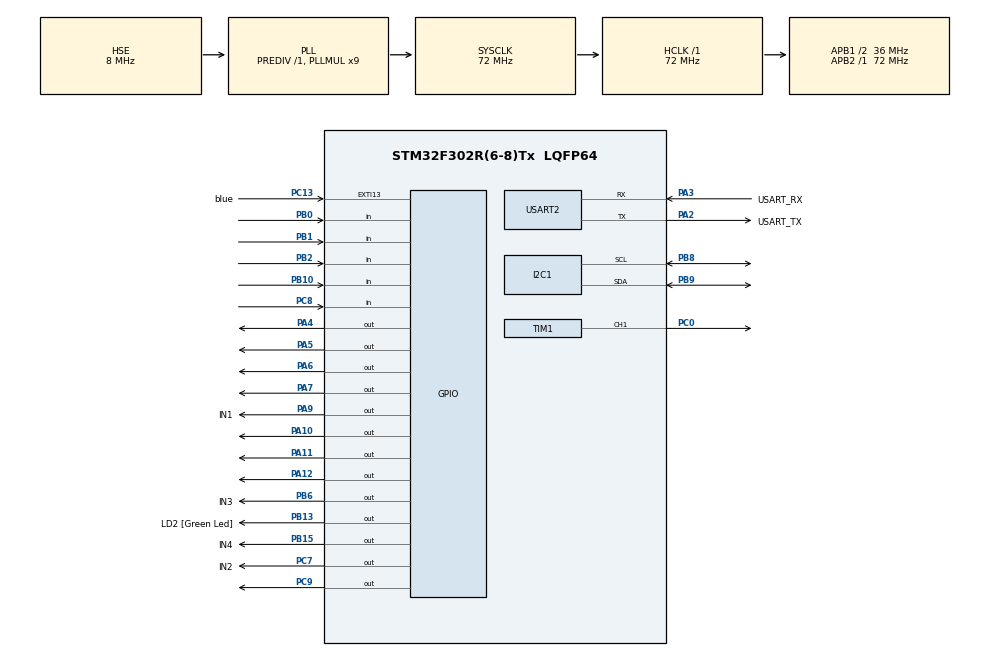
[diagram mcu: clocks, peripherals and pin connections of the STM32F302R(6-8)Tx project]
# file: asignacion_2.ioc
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Mcu.Family=STM32F3
Mcu.Name=STM32F302R(6-8)Tx
Mcu.Package=LQFP64
NVIC.PriorityGroup=NVIC_PRIORITYGROUP_0
PA10.Signal=GPIO_Output
PA11.Signal=GPIO_Output
PA12.Signal=GPIO_Output
PA13.GPIO_Label=TMS
PA13.Mode=Serial_Wire
PA13.Signal=SYS_JTMS-SWDIO
PA14.GPIO_Label=TCK
PA14.Mode=Serial_Wire
PA14.Signal=SYS_JTCK-SWCLK
PA2.GPIO_Label=USART_TX
PA2.GPIO_Mode=GPIO_MODE_AF_PP
PA2.GPIO_PuPd=GPIO_NOPULL
PA2.GPIO_Speed=GPIO_SPEED_FREQ_LOW
PA2.Mode=Asynchronous
PA2.Signal=USART2_TX
PA3.GPIO_Label=USART_RX
PA3.GPIO_Mode=GPIO_MODE_AF_PP
PA3.GPIO_PuPd=GPIO_NOPULL
PA3.GPIO_Speed=GPIO_SPEED_FREQ_LOW
PA3.Mode=Asynchronous
PA3.Signal=USART2_RX
PA4.Signal=GPIO_Output
PA5.Signal=GPIO_Output
PA6.Signal=GPIO_Output
PA7.Signal=GPIO_Output
PA9.GPIO_Label=IN1
PA9.Signal=GPIO_Output
PB0.GPIO_PuPd=GPIO_PULLUP
PB0.Signal=GPIO_Input
PB1.GPIO_PuPd=GPIO_PULLUP
PB1.Signal=GPIO_Input
PB10.GPIO_PuPd=GPIO_PULLUP
PB10.Signal=GPIO_Input
PB13.GPIO_Label=LD2 [Green Led]
PB13.Signal=GPIO_Output
PB15.GPIO_Label=IN4
PB15.Signal=GPIO_Output
PB2.GPIO_PuPd=GPIO_PULLUP
PB2.Signal=GPIO_Input
PB3.GPIO_Label=SWO
PB3.Mode=Trace_Asynchronous_SW
PB3.Signal=SYS_JTDO-TRACESWO
PB6.GPIO_Label=IN3
PB6.Signal=GPIO_Output
PB8.Mode=I2C
PB8.Signal=I2C1_SCL
PB9.Mode=I2C
PB9.Signal=I2C1_SDA
PC0.GPIO_PuPd=GPIO_PULLUP
PC0.Signal=S_TIM1_CH1
PC13.GPIO_Label=blue
PC13.GPIO_ModeDefaultEXTI=GPIO_MODE_IT_FALLING
PC13.Signal=GPXTI13
PC14\ -\ OSC32_IN.Signal=RCC_OSC32_IN
PC15\ -\ OSC32_OUT.Signal=RCC_OSC32_OUT
PC7.GPIO_Label=IN2
PC7.Signal=GPIO_Output
PC8.Signal=GPIO_Input
PC9.Signal=GPIO_Output
PF0-OSC_IN.Mode=HSE-External-Oscillator
PF0-OSC_IN.Signal=RCC_OSC_IN
PF1-OSC_OUT.Mode=HSE-External-Oscillator
PF1-OSC_OUT.Signal=RCC_OSC_OUT
ProjectManager.HeapSize=0x200
ProjectManager.StackSize=0x400
ProjectManager.TargetToolchain=STM32CubeIDE
RCC.AHBFreq_Value=72000000
RCC.APB1CLKDivider=RCC_HCLK_DIV2
RCC.APB1Freq_Value=36000000
RCC.APB1TimFreq_Value=72000000
RCC.APB2Freq_Value=72000000
RCC.APB2TimFreq_Value=72000000
RCC.CortexFreq_Value=72000000
RCC.HCLKFreq_Value=72000000
RCC.HSE_VALUE=8000000
RCC.HSI_VALUE=8000000
RCC.LSE_VALUE=32768
RCC.PLLM=8
RCC.PLLMUL=RCC_PLL_MUL9
RCC.PLLN=336
RCC.PLLP=RCC_PLLP_DIV4
RCC.PLLQ=7
RCC.PLLSourceVirtual=RCC_PLLSOURCE_HSE
RCC.SYSCLKFreq_VALUE=72000000
RCC.SYSCLKSourceVirtual=RCC_SYSCLKSOURCE_PLLCLK
RCC.USBFreq_Value=72000000
SH.S_TIM1_CH1.0=TIM1_CH1,PWM Generation1 CH1
TIM1.Channel-PWM\ Generation1\ CH1=TIM_CHANNEL_1
TIM1.Period=20000
TIM1.Prescaler=72-1
TIM1.Pulse-PWM\ Generation1\ CH1=500
TIM15.Prescaler=71
TIM2.Period=0xffff-1
TIM2.Prescaler=72-1
USART2.VirtualMode-Asynchronous=VM_ASYNC
VP_TIM15_VS_ClockSourceINT.Mode=Internal
VP_TIM1_VS_ClockSourceINT.Mode=Internal
VP_TIM2_VS_ClockSourceINT.Mode=Internal
board=NUCLEO-F302R8

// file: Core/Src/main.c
/**************************************************************/

/**

               Instituto Tecnológico de Las Américas (ITLA)

                    Nombre: Julio de la Rosa Pérez

                         Matrícula: 2018-6732

                     Materia: Microcontroladores

                       Profesor: Wilkin Cedano

********************************************************************/
/* USER CODE END Header */
#include "main.h"

/* USER CODE BEGIN Includes */
#include "i2c-lcd.h"
#include "max_matrix_stm32.h"
#include "Servo.h"
#include "StepMotor.h"
#include "ultrasonico.h"
/* USER CODE END Includes */

/* USER CODE BEGIN PD */
#define SERVO_TIMER &htim1
#define SERVO_CHANNEL TIM_CHANNEL_1

#define R1_PORT GPIOA
#define R1_PIN GPIO_PIN_4

#define R2_PORT GPIOA
#define R2_PIN GPIO_PIN_5

#define R3_PORT GPIOA
#define R3_PIN GPIO_PIN_6

#define R4_PORT GPIOA
#define R4_PIN GPIO_PIN_7

#define C1_PORT GPIOB
#define C1_PIN GPIO_PIN_0

#define C2_PORT GPIOB
#define C2_PIN GPIO_PIN_1

#define C3_PORT GPIOB
#define C3_PIN GPIO_PIN_2

#define C4_PORT GPIOB
#define C4_PIN GPIO_PIN_10
/* USER CODE END PD */

I2C_HandleTypeDef hi2c1;

TIM_HandleTypeDef htim1;
TIM_HandleTypeDef htim2;
TIM_HandleTypeDef htim15;

UART_HandleTypeDef huart2;

void SystemClock_Config(void);
static void MX_GPIO_Init(void);
static void MX_USART2_UART_Init(void);
static void MX_I2C1_Init(void);
static void MX_TIM1_Init(void);
static void MX_TIM2_Init(void);
static void MX_TIM15_Init(void);

/* USER CODE BEGIN 0 */
void delay(uint16_t us){

	__HAL_TIM_SET_COUNTER(&htim2,0);

	while(__HAL_TIM_GET_COUNTER(&htim2)<us);

}
#define stepsperrev 4096

uint8_t key;

char read_keypad (void)
{
	/* Make ROW 1 LOW and all other ROWs HIGH */
	HAL_GPIO_WritePin (R1_PORT, R1_PIN, GPIO_PIN_RESET);  //Pull the R1 low
	HAL_GPIO_WritePin (R2_PORT, R2_PIN, GPIO_PIN_SET);  // Pull the R2 High
	HAL_GPIO_WritePin (R3_PORT, R3_PIN, GPIO_PIN_SET);  // Pull the R3 High
	HAL_GPIO_WritePin (R4_PORT, R4_PIN, GPIO_PIN_SET);  // Pull the R4 High

	if (!(HAL_GPIO_ReadPin (C1_PORT, C1_PIN)))   // if the Col 1 is low
	{
		while (!(HAL_GPIO_ReadPin (C1_PORT, C1_PIN)));   // wait till the button is pressed
		return '1';
	}

	if (!(HAL_GPIO_ReadPin (C2_PORT, C2_PIN)))   // if the Col 2 is low
	{
		while (!(HAL_GPIO_ReadPin (C2_PORT, C2_PIN)));   // wait till the button is pressed
		return '2';
	}

	if (!(HAL_GPIO_ReadPin (C3_PORT, C3_PIN)))   // if the Col 3 is low
	{
		while (!(HAL_GPIO_ReadPin (C3_PORT, C3_PIN)));   // wait till the button is pressed
		return '3';
	}

	if (!(HAL_GPIO_ReadPin (C4_PORT, C4_PIN)))   // if the Col 4 is low
	{
		while (!(HAL_GPIO_ReadPin (C4_PORT, C4_PIN)));   // wait till the button is pressed
		return 'A';
	}

	/* Make ROW 2 LOW and all other ROWs HIGH */
	HAL_GPIO_WritePin (R1_PORT, R1_PIN, GPIO_PIN_SET);  //Pull the R1 low
	HAL_GPIO_WritePin (R2_PORT, R2_PIN, GPIO_PIN_RESET);  // Pull the R2 High
	HAL_GPIO_WritePin (R3_PORT, R3_PIN, GPIO_PIN_SET);  // Pull the R3 High
	HAL_GPIO_WritePin (R4_PORT, R4_PIN, GPIO_PIN_SET);  // Pull the R4 High

	if (!(HAL_GPIO_ReadPin (C1_PORT, C1_PIN)))   // if the Col 1 is low
	{
		while (!(HAL_GPIO_ReadPin (C1_PORT, C1_PIN)));   // wait till the button is pressed
		return '4';
	}

	if (!(HAL_GPIO_ReadPin (C2_PORT, C2_PIN)))   // if the Col 2 is low
	{
		while (!(HAL_GPIO_ReadPin (C2_PORT, C2_PIN)));   // wait till the button is pressed
		return '5';
	}

	if (!(HAL_GPIO_ReadPin (C3_PORT, C3_PIN)))   // if the Col 3 is low
	{
		while (!(HAL_GPIO_ReadPin (C3_PORT, C3_PIN)));   // wait till the button is pressed
		return '6';
	}

	if (!(HAL_GPIO_ReadPin (C4_PORT, C4_PIN)))   // if the Col 4 is low
	{
		while (!(HAL_GPIO_ReadPin (C4_PORT, C4_PIN)));   // wait till the button is pressed
		return 'B';
	}

	/* Make ROW 3 LOW and all other ROWs HIGH */
	HAL_GPIO_WritePin (R1_PORT, R1_PIN, GPIO_PIN_SET);
	HAL_GPIO_WritePin (R2_PORT, R2_PIN, GPIO_PIN_SET);
	HAL_GPIO_WritePin (R3_PORT, R3_PIN, GPIO_PIN_RESET);
	HAL_GPIO_WritePin (R4_PORT, R4_PIN, GPIO_PIN_SET);

	if (!(HAL_GPIO_ReadPin (C1_PORT, C1_PIN)))
	{
		while (!(HAL_GPIO_ReadPin (C1_PORT, C1_PIN)));
		return '7';
	}

	if (!(HAL_GPIO_ReadPin (C2_PORT, C2_PIN)))
	{
		while (!(HAL_GPIO_ReadPin (C2_PORT, C2_PIN)));
		return '8';
	}

	if (!(HAL_GPIO_ReadPin (C3_PORT, C3_PIN)))
	{
		while (!(HAL_GPIO_ReadPin (C3_PORT, C3_PIN)));
		return '9';
	}

	if (!(HAL_GPIO_ReadPin (C4_PORT, C4_PIN)))
	{
		while (!(HAL_GPIO_ReadPin (C4_PORT, C4_PIN)));
		return 'C';
	}

	/* Make ROW 4 LOW and all other ROWs HIGH */
	HAL_GPIO_WritePin (R1_PORT, R1_PIN, GPIO_PIN_SET);
	HAL_GPIO_WritePin (R2_PORT, R2_PIN, GPIO_PIN_SET);
	HAL_GPIO_WritePin (R3_PORT, R3_PIN, GPIO_PIN_SET);
	HAL_GPIO_WritePin (R4_PORT, R4_PIN, GPIO_PIN_RESET);

	if (!(HAL_GPIO_ReadPin (C1_PORT, C1_PIN)))
	{
		while (!(HAL_GPIO_ReadPin (C1_PORT, C1_PIN)));
		return '*';
	}

	if (!(HAL_GPIO_ReadPin (C2_PORT, C2_PIN)))
	{
		while (!(HAL_GPIO_ReadPin (C2_PORT, C2_PIN)));
		return '0';
	}

	if (!(HAL_GPIO_ReadPin (C3_PORT, C3_PIN)))
	{
		while (!(HAL_GPIO_ReadPin (C3_PORT, C3_PIN)));
		return '#';
	}

	if (!(HAL_GPIO_ReadPin (C4_PORT, C4_PIN)))
	{
		while (!(HAL_GPIO_ReadPin (C4_PORT, C4_PIN)));
		return 'D';
	}
	return '\0';//PROBAR NUEVA IMPLEMENTACION
}

/* USER CODE END 0 */

int main(void)
{

  /* MCU Configuration--------------------------------------------------------*/

  /* Reset of all peripherals, Initializes the Flash interface and the Systick. */
  HAL_Init();

  /* USER CODE BEGIN Init */

  Servo servo;

  /* USER CODE END Init */

  /* Configure the system clock */
  SystemClock_Config();

  /* Initialize all configured peripherals */
  MX_GPIO_Init();
  MX_USART2_UART_Init();
  MX_I2C1_Init();
  MX_TIM1_Init();
  MX_TIM2_Init();
  MX_TIM15_Init();
  /* USER CODE BEGIN 2 */
lcd_init();
ultrasonic_init();
lcd_send_cmd(0x01);
lcd_send_cmd(0x80);
lcd_send_string("  A)ULTRASONICO");
lcd_send_cmd(0xC0);
lcd_send_string("B)TECLADO");
max_init(0x03);
Servo_Init(&servo, &htim1, TIM_CHANNEL_1);
Servo_MoveToAngle(&servo, 0, 500);//temporal
HAL_TIM_Base_Start(&htim2);
  /* USER CODE END 2 */

/* Infinite loop */
while (1)
{
	      char operation = 0;
	      int num1 = 0, digit1 = 0;
	      uint16_t Distancia = ultrasonic_measure_distance();
	      key = read_keypad();
	      operation = key;

	      switch (operation) {
	          case 'A':
	              lcd_clear();
	              while (1) {
	                  uint16_t Distancia = ultrasonic_measure_distance();

	                  HAL_Delay(10);
	                  lcd_send_cmd(0x80);
	                  lcd_send_string("Distancia");
	                  lcd_put_cur(0, 10);
	                  lcd_send_data((Distancia / 100) + 48);
	                  lcd_send_data(((Distancia / 10) % 10) + 48);
	                  lcd_send_data((Distancia % 10) + 48);
	                  lcd_send_string(" cm");
	                  lcd_send_cmd(0xC0);
	                  lcd_send_string("Ultrasonico");
	                  HAL_Delay(50);
	                  if (Distancia <= 15){
	                	  write_char(17, 1);
	                      Servo_MoveToAngle(&servo,Distancia, 1000);
		                  	stepper_step_angle(Distancia, 0, 13);
	                  }
	                  else if (Distancia > 15){
	                	  write_char(16, 1);
	                      Servo_MoveToAngle(&servo, Distancia, 1000);
		                  	stepper_step_angle(Distancia, 1, 13);
	                  }
	                  key = read_keypad();
	                  if (key == 'C') {
	                	lcd_clear();
	                  	lcd_put_cur(1, 0);
	                  	stepper_step_angle(0, 0, 1);
	                  	Servo_SetAngle(&servo,0);
	                  	lcd_send_string("Presione  C!");
	                  	scroll_string("x2",150, left);
	                  	max_clear();
	                      break;  // Volver al menú principal si se presiona 'C'
	                  }
	              }
	          	while(read_keypad()== 'C'){}
	              break;

	          case 'B':
	              lcd_clear();
	              lcd_send_cmd(0x80);
	              lcd_send_string("Entre digitos:");
	              lcd_send_cmd(0xC0);

	              while (1) {
	                  key = read_keypad();

	                  if (key != 0x01) {
	                      if (key >= '0' && key <= '9' && digit1 < 3) {
	                          int movei = key - '0';
	                          num1 = (num1 * 10) + movei;
	                          lcd_send_data(key);
	                          digit1++;
	                      } else if (key == '#') {
	                          // Salir del bucle cuando se ingresa el símbolo '#'
	                          break;
	                      } else if (key == 'D') {
	                          // Borrar el último dígito ingresado si se presiona 'D'
	                          if (digit1 > 0) {
	                              num1 = num1 / 10;
	                              digit1--;
	                              lcd_send_cmd(0x10); // Mover el cursor hacia atrás
	                              lcd_send_data(' '); // Borrar el último dígito mostrado
	                              lcd_send_cmd(0x10); // Mover el cursor hacia atrás nuevamente
	                          }
	                      }
	                  }
	              }
	              if (num1 >= 90){
	              write_char(17, 1);
	              Servo_MoveToAngle(&servo, num1, 1000);
	              stepper_step_angle(num1, 0, 13);}
	              else if (num1 < 90 ){
                write_char(16, 1);
	              Servo_MoveToAngle(&servo, num1, 1000);
	              stepper_step_angle(num1, 1, 13);}

	              break;

	          case 'C':
	        	  max_clear();
                  stepper_step_angle(0, 0, 1);
                  Servo_SetAngle(&servo,0);
	              lcd_send_cmd(0x01);
	              lcd_send_cmd(0x80);
	              lcd_send_string("  A)ULTRASONICO");
	              lcd_send_cmd(0xC0);
	              lcd_send_string("B)TECLADO");

	              break;
	      }

}
}
void SystemClock_Config(void)
{
  RCC_OscInitTypeDef RCC_OscInitStruct = {0};
  RCC_ClkInitTypeDef RCC_ClkInitStruct = {0};
  RCC_PeriphCLKInitTypeDef PeriphClkInit = {0};

  /** Initializes the RCC Oscillators according to the specified parameters
  * in the RCC_OscInitTypeDef structure.
  */
  RCC_OscInitStruct.OscillatorType = RCC_OSCILLATORTYPE_HSI|RCC_OSCILLATORTYPE_HSE;
  RCC_OscInitStruct.HSEState = RCC_HSE_ON;
  RCC_OscInitStruct.HSEPredivValue = RCC_HSE_PREDIV_DIV1;
  RCC_OscInitStruct.HSIState = RCC_HSI_ON;
  RCC_OscInitStruct.HSICalibrationValue = RCC_HSICALIBRATION_DEFAULT;
  RCC_OscInitStruct.PLL.PLLState = RCC_PLL_ON;
  RCC_OscInitStruct.PLL.PLLSource = RCC_PLLSOURCE_HSE;
  RCC_OscInitStruct.PLL.PLLMUL = RCC_PLL_MUL9;
  if (HAL_RCC_OscConfig(&RCC_OscInitStruct) != HAL_OK)
  {
    Error_Handler();
  }

  /** Initializes the CPU, AHB and APB buses clocks
  */
  RCC_ClkInitStruct.ClockType = RCC_CLOCKTYPE_HCLK|RCC_CLOCKTYPE_SYSCLK
                              |RCC_CLOCKTYPE_PCLK1|RCC_CLOCKTYPE_PCLK2;
  RCC_ClkInitStruct.SYSCLKSource = RCC_SYSCLKSOURCE_PLLCLK;
  RCC_ClkInitStruct.AHBCLKDivider = RCC_SYSCLK_DIV1;
  RCC_ClkInitStruct.APB1CLKDivider = RCC_HCLK_DIV2;
  RCC_ClkInitStruct.APB2CLKDivider = RCC_HCLK_DIV1;

  if (HAL_RCC_ClockConfig(&RCC_ClkInitStruct, FLASH_LATENCY_2) != HAL_OK)
  {
    Error_Handler();
  }
  PeriphClkInit.PeriphClockSelection = RCC_PERIPHCLK_I2C1|RCC_PERIPHCLK_TIM1
                              |RCC_PERIPHCLK_TIM15;
  PeriphClkInit.I2c1ClockSelection = RCC_I2C1CLKSOURCE_HSI;
  PeriphClkInit.Tim1ClockSelection = RCC_TIM1CLK_HCLK;
  PeriphClkInit.Tim15ClockSelection = RCC_TIM15CLK_HCLK;
  if (HAL_RCCEx_PeriphCLKConfig(&PeriphClkInit) != HAL_OK)
  {
    Error_Handler();
  }
}

static void MX_I2C1_Init(void)
{

  hi2c1.Instance = I2C1;
  hi2c1.Init.Timing = 0x2000090E;
  hi2c1.Init.OwnAddress1 = 0;
  hi2c1.Init.AddressingMode = I2C_ADDRESSINGMODE_7BIT;
  hi2c1.Init.DualAddressMode = I2C_DUALADDRESS_DISABLE;
  hi2c1.Init.OwnAddress2 = 0;
  hi2c1.Init.OwnAddress2Masks = I2C_OA2_NOMASK;
  hi2c1.Init.GeneralCallMode = I2C_GENERALCALL_DISABLE;
  hi2c1.Init.NoStretchMode = I2C_NOSTRETCH_DISABLE;
  if (HAL_I2C_Init(&hi2c1) != HAL_OK)
  {
    Error_Handler();
  }

  /** Configure Analogue filter
  */
  if (HAL_I2CEx_ConfigAnalogFilter(&hi2c1, I2C_ANALOGFILTER_ENABLE) != HAL_OK)
  {
    Error_Handler();
  }

  /** Configure Digital filter
  */
  if (HAL_I2CEx_ConfigDigitalFilter(&hi2c1, 0) != HAL_OK)
  {
    Error_Handler();
  }

}

static void MX_TIM1_Init(void)
{

  TIM_ClockConfigTypeDef sClockSourceConfig = {0};
  TIM_MasterConfigTypeDef sMasterConfig = {0};
  TIM_OC_InitTypeDef sConfigOC = {0};
  TIM_BreakDeadTimeConfigTypeDef sBreakDeadTimeConfig = {0};

  htim1.Instance = TIM1;
  htim1.Init.Prescaler = 72-1;
  htim1.Init.CounterMode = TIM_COUNTERMODE_UP;
  htim1.Init.Period = 20000;
  htim1.Init.ClockDivision = TIM_CLOCKDIVISION_DIV1;
  htim1.Init.RepetitionCounter = 0;
  htim1.Init.AutoReloadPreload = TIM_AUTORELOAD_PRELOAD_DISABLE;
  if (HAL_TIM_Base_Init(&htim1) != HAL_OK)
  {
    Error_Handler();
  }
  sClockSourceConfig.ClockSource = TIM_CLOCKSOURCE_INTERNAL;
  if (HAL_TIM_ConfigClockSource(&htim1, &sClockSourceConfig) != HAL_OK)
  {
    Error_Handler();
  }
  if (HAL_TIM_PWM_Init(&htim1) != HAL_OK)
  {
    Error_Handler();
  }
  sMasterConfig.MasterOutputTrigger = TIM_TRGO_RESET;
  sMasterConfig.MasterOutputTrigger2 = TIM_TRGO2_RESET;
  sMasterConfig.MasterSlaveMode = TIM_MASTERSLAVEMODE_DISABLE;
  if (HAL_TIMEx_MasterConfigSynchronization(&htim1, &sMasterConfig) != HAL_OK)
  {
    Error_Handler();
  }
  sConfigOC.OCMode = TIM_OCMODE_PWM1;
  sConfigOC.Pulse = 500;
  sConfigOC.OCPolarity = TIM_OCPOLARITY_HIGH;
  sConfigOC.OCNPolarity = TIM_OCNPOLARITY_HIGH;
  sConfigOC.OCFastMode = TIM_OCFAST_DISABLE;
  sConfigOC.OCIdleState = TIM_OCIDLESTATE_RESET;
  sConfigOC.OCNIdleState = TIM_OCNIDLESTATE_RESET;
  if (HAL_TIM_PWM_ConfigChannel(&htim1, &sConfigOC, TIM_CHANNEL_1) != HAL_OK)
  {
    Error_Handler();
  }
  sBreakDeadTimeConfig.OffStateRunMode = TIM_OSSR_DISABLE;
  sBreakDeadTimeConfig.OffStateIDLEMode = TIM_OSSI_DISABLE;
  sBreakDeadTimeConfig.LockLevel = TIM_LOCKLEVEL_OFF;
  sBreakDeadTimeConfig.DeadTime = 0;
  sBreakDeadTimeConfig.BreakState = TIM_BREAK_DISABLE;
  sBreakDeadTimeConfig.BreakPolarity = TIM_BREAKPOLARITY_HIGH;
  sBreakDeadTimeConfig.BreakFilter = 0;
  sBreakDeadTimeConfig.Break2State = TIM_BREAK2_DISABLE;
  sBreakDeadTimeConfig.Break2Polarity = TIM_BREAK2POLARITY_HIGH;
  sBreakDeadTimeConfig.Break2Filter = 0;
  sBreakDeadTimeConfig.AutomaticOutput = TIM_AUTOMATICOUTPUT_DISABLE;
  if (HAL_TIMEx_ConfigBreakDeadTime(&htim1, &sBreakDeadTimeConfig) != HAL_OK)
  {
    Error_Handler();
  }
  HAL_TIM_MspPostInit(&htim1);

}

static void MX_TIM2_Init(void)
{

  TIM_ClockConfigTypeDef sClockSourceConfig = {0};
  TIM_MasterConfigTypeDef sMasterConfig = {0};

  htim2.Instance = TIM2;
  htim2.Init.Prescaler = 72-1;
  htim2.Init.CounterMode = TIM_COUNTERMODE_UP;
  htim2.Init.Period = 0xffff-1;
  htim2.Init.ClockDivision = TIM_CLOCKDIVISION_DIV1;
  htim2.Init.AutoReloadPreload = TIM_AUTORELOAD_PRELOAD_DISABLE;
  if (HAL_TIM_Base_Init(&htim2) != HAL_OK)
  {
    Error_Handler();
  }
  sClockSourceConfig.ClockSource = TIM_CLOCKSOURCE_INTERNAL;
  if (HAL_TIM_ConfigClockSource(&htim2, &sClockSourceConfig) != HAL_OK)
  {
    Error_Handler();
  }
  sMasterConfig.MasterOutputTrigger = TIM_TRGO_RESET;
  sMasterConfig.MasterSlaveMode = TIM_MASTERSLAVEMODE_DISABLE;
  if (HAL_TIMEx_MasterConfigSynchronization(&htim2, &sMasterConfig) != HAL_OK)
  {
    Error_Handler();
  }

}

static void MX_TIM15_Init(void)
{

  TIM_ClockConfigTypeDef sClockSourceConfig = {0};
  TIM_MasterConfigTypeDef sMasterConfig = {0};

  htim15.Instance = TIM15;
  htim15.Init.Prescaler = 71;
  htim15.Init.CounterMode = TIM_COUNTERMODE_UP;
  htim15.Init.Period = 65535;
  htim15.Init.ClockDivision = TIM_CLOCKDIVISION_DIV1;
  htim15.Init.RepetitionCounter = 0;
  htim15.Init.AutoReloadPreload = TIM_AUTORELOAD_PRELOAD_DISABLE;
  if (HAL_TIM_Base_Init(&htim15) != HAL_OK)
  {
    Error_Handler();
  }
  sClockSourceConfig.ClockSource = TIM_CLOCKSOURCE_INTERNAL;
  if (HAL_TIM_ConfigClockSource(&htim15, &sClockSourceConfig) != HAL_OK)
  {
    Error_Handler();
  }
  sMasterConfig.MasterOutputTrigger = TIM_TRGO_RESET;
  sMasterConfig.MasterSlaveMode = TIM_MASTERSLAVEMODE_DISABLE;
  if (HAL_TIMEx_MasterConfigSynchronization(&htim15, &sMasterConfig) != HAL_OK)
  {
    Error_Handler();
  }

}

static void MX_USART2_UART_Init(void)
{

  huart2.Instance = USART2;
  huart2.Init.BaudRate = 38400;
  huart2.Init.WordLength = UART_WORDLENGTH_8B;
  huart2.Init.StopBits = UART_STOPBITS_1;
  huart2.Init.Parity = UART_PARITY_NONE;
  huart2.Init.Mode = UART_MODE_TX_RX;
  huart2.Init.HwFlowCtl = UART_HWCONTROL_NONE;
  huart2.Init.OverSampling = UART_OVERSAMPLING_16;
  huart2.Init.OneBitSampling = UART_ONE_BIT_SAMPLE_DISABLE;
  huart2.AdvancedInit.AdvFeatureInit = UART_ADVFEATURE_NO_INIT;
  if (HAL_UART_Init(&huart2) != HAL_OK)
  {
    Error_Handler();
  }

}

static void MX_GPIO_Init(void)
{
  GPIO_InitTypeDef GPIO_InitStruct = {0};

  /* GPIO Ports Clock Enable */
  __HAL_RCC_GPIOC_CLK_ENABLE();
  __HAL_RCC_GPIOF_CLK_ENABLE();
  __HAL_RCC_GPIOA_CLK_ENABLE();
  __HAL_RCC_GPIOB_CLK_ENABLE();

  /*Configure GPIO pin Output Level */
  HAL_GPIO_WritePin(GPIOA, GPIO_PIN_4|GPIO_PIN_5|GPIO_PIN_6|GPIO_PIN_7
                          |IN1_Pin|GPIO_PIN_10|GPIO_PIN_11|GPIO_PIN_12, GPIO_PIN_RESET);

  /*Configure GPIO pin Output Level */
  HAL_GPIO_WritePin(GPIOB, LD2_Pin|IN4_Pin|IN3_Pin, GPIO_PIN_RESET);

  /*Configure GPIO pin Output Level */
  HAL_GPIO_WritePin(GPIOC, IN2_Pin|GPIO_PIN_9, GPIO_PIN_RESET);

  /*Configure GPIO pin : blue_Pin */
  GPIO_InitStruct.Pin = blue_Pin;
  GPIO_InitStruct.Mode = GPIO_MODE_IT_FALLING;
  GPIO_InitStruct.Pull = GPIO_NOPULL;
  HAL_GPIO_Init(blue_GPIO_Port, &GPIO_InitStruct);

  /*Configure GPIO pins : PA4 PA5 PA6 PA7
                           IN1_Pin PA10 PA11 PA12 */
  GPIO_InitStruct.Pin = GPIO_PIN_4|GPIO_PIN_5|GPIO_PIN_6|GPIO_PIN_7
                          |IN1_Pin|GPIO_PIN_10|GPIO_PIN_11|GPIO_PIN_12;
  GPIO_InitStruct.Mode = GPIO_MODE_OUTPUT_PP;
  GPIO_InitStruct.Pull = GPIO_NOPULL;
  GPIO_InitStruct.Speed = GPIO_SPEED_FREQ_LOW;
  HAL_GPIO_Init(GPIOA, &GPIO_InitStruct);

  /*Configure GPIO pins : PB0 PB1 PB2 PB10 */
  GPIO_InitStruct.Pin = GPIO_PIN_0|GPIO_PIN_1|GPIO_PIN_2|GPIO_PIN_10;
  GPIO_InitStruct.Mode = GPIO_MODE_INPUT;
  GPIO_InitStruct.Pull = GPIO_PULLUP;
  HAL_GPIO_Init(GPIOB, &GPIO_InitStruct);

  /*Configure GPIO pins : LD2_Pin IN4_Pin IN3_Pin */
  GPIO_InitStruct.Pin = LD2_Pin|IN4_Pin|IN3_Pin;
  GPIO_InitStruct.Mode = GPIO_MODE_OUTPUT_PP;
  GPIO_InitStruct.Pull = GPIO_NOPULL;
  GPIO_InitStruct.Speed = GPIO_SPEED_FREQ_LOW;
  HAL_GPIO_Init(GPIOB, &GPIO_InitStruct);

  /*Configure GPIO pins : IN2_Pin PC9 */
  GPIO_InitStruct.Pin = IN2_Pin|GPIO_PIN_9;
  GPIO_InitStruct.Mode = GPIO_MODE_OUTPUT_PP;
  GPIO_InitStruct.Pull = GPIO_NOPULL;
  GPIO_InitStruct.Speed = GPIO_SPEED_FREQ_LOW;
  HAL_GPIO_Init(GPIOC, &GPIO_InitStruct);

  /*Configure GPIO pin : PC8 */
  GPIO_InitStruct.Pin = GPIO_PIN_8;
  GPIO_InitStruct.Mode = GPIO_MODE_INPUT;
  GPIO_InitStruct.Pull = GPIO_NOPULL;
  HAL_GPIO_Init(GPIOC, &GPIO_InitStruct);

}

void Error_Handler(void)
{
  __disable_irq();
  while (1)
  {
  }
}
